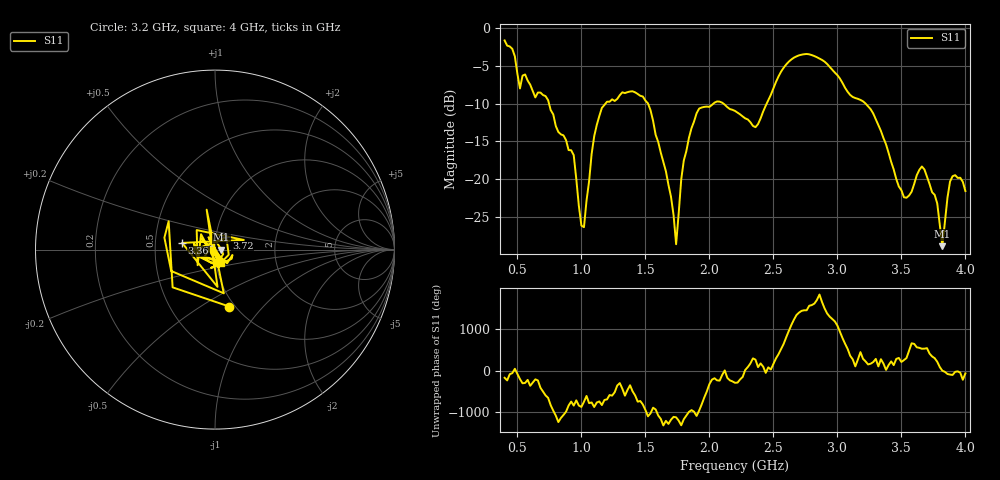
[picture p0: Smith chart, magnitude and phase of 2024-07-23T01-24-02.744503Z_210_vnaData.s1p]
!Created with skrf (http://scikit-rf.org).
# Hz S RI R 50.0
!freq ReS11 ImS11
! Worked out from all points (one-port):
!   181 points, 400 MHz to 4 GHz, reference 50 ohm
!   lowest |S11| = -28.9 dB at 3.82 GHz (marker M1), VSWR 1.07, Z = 53.7 - j0.132 ohm
!   |S11| at or under -10 dB: 746.7 MHz to 1.189 GHz (442.2 MHz wide, 45.7 % of centre); 1.52 GHz to 2.032 GHz (511.7 MHz wide, 28.8 % of centre); 3.22 GHz to end of sweep (the widest 3 of 4)
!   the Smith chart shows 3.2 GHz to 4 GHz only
!   S11 on the Smith chart (normalised r, x): 3.2 GHz: 0.94, -0.67; 3.36 GHz: 0.69, +0.05; 3.72 GHz: 1.12, +0.15; 4 GHz: 1.06, -0.16
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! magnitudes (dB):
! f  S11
! 400 MHz  -1.7
! 520 MHz  -8.0
! 720 MHz  -9.0
! 860 MHz  -14.2
! 940 MHz  -16.8
! 1 GHz  -26.2
! 1.02 GHz  -26.4
! 1.12 GHz  -12.8
! 1.3 GHz  -8.9
! 1.52 GHz  -10.0
! 1.7 GHz  -22.4
! 1.74 GHz  -28.6
! 1.76 GHz  -24.6
! 1.8 GHz  -17.5
! 1.9 GHz  -11.3
! 2.2 GHz  -11.0
! 2.36 GHz  -13.1
! 2.66 GHz  -3.9
! 3.1 GHz  -8.9
! 3.2 GHz  -9.7
! 3.36 GHz  -14.6
! 3.56 GHz  -22.2
! 3.66 GHz  -18.3
! 3.72 GHz  -20.7
! 3.78 GHz  -23.2
! 3.82 GHz  -28.9
! 3.88 GHz  -20.3
! 4 GHz  -21.6
